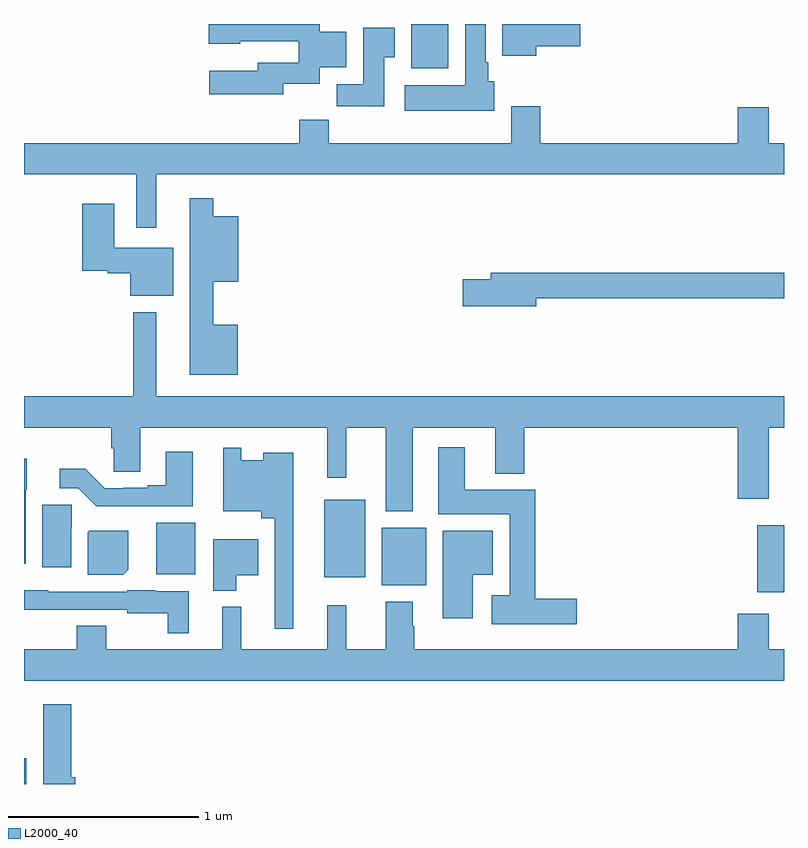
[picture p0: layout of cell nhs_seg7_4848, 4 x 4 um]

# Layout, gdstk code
import gdstk
lib = gdstk.Library(unit=1e-6, precision=1e-09)
def R(c, l, rs):  # rectangles x0, y0, x1, y1
    for r in rs: c.add(gdstk.rectangle(r[:2], r[2:], *l))
def P(c, l, *ps):  # polygons
    for p in ps: c.add(gdstk.Polygon(p, *l))
L2000_40 = (2000, 40)

nhs_seg7_4848 = lib.new_cell('nhs_seg7_4848')
R(nhs_seg7_4848, L2000_40, [(413,1072,413.013,1072.135), (416.858,1073.01,417,1073.362), (414.884,1073.045,415.117,1073.35), (414.581,1073.087,414.796,1073.497), (413.696,1073.105,413.902,1073.374), (415.037,1075.766,415.234,1076)])
P(nhs_seg7_4848, L2000_40, [(414.364,1075.685),(414.556,1075.685),(414.556,1075.772),(414.697,1075.772),(414.697,1075.96),(414.556,1075.96),(414.556,1076),(413.972,1076),(413.972,1075.895),(414.138,1075.895),(414.138,1075.908),(414.446,1075.908),(414.446,1075.795),(414.23,1075.795),(414.23,1075.753),(413.976,1075.753),(413.976,1075.631),(414.364,1075.631)],
  [(415.696,1075.883),(415.927,1075.883),(415.927,1076),(415.517,1076),(415.517,1075.832),(415.696,1075.832)],
  [(415.474,1075.698),(415.444,1075.698),(415.444,1075.798),(415.429,1075.798),(415.429,1076),(415.322,1076),(415.322,1075.678),(415.005,1075.678),(415.005,1075.544),(415.474,1075.544)],
  [(414.895,1075.825),(414.952,1075.825),(414.952,1075.981),(414.785,1075.981),(414.785,1075.684),(414.646,1075.684),(414.646,1075.566),(414.895,1075.566)],
  [(413.695,1075.208),(417,1075.208),(417,1075.372),(416.92,1075.372),(416.92,1075.561),(416.756,1075.561),(416.756,1075.372),(415.718,1075.372),(415.718,1075.567),(415.565,1075.567),(415.565,1075.372),(414.605,1075.372),(414.605,1075.496),(414.449,1075.496),(414.449,1075.372),(413,1075.372),(413,1075.208),(413.591,1075.208),(413.591,1074.927),(413.695,1074.927)],
  [(414.124,1074.418),(413.995,1074.418),(413.995,1074.644),(414.127,1074.644),(414.127,1074.988),(413.995,1074.988),(413.995,1075.084),(413.873,1075.084),(413.873,1074.155),(414.124,1074.155)],
  [(413.785,1074.823),(413.476,1074.823),(413.476,1075.054),(413.306,1075.054),(413.306,1074.701),(413.442,1074.701),(413.442,1074.689),(413.558,1074.689),(413.558,1074.569),(413.785,1074.569)],
  [(415.696,1074.556),(417,1074.556),(417,1074.692),(415.457,1074.692),(415.457,1074.656),(415.308,1074.656),(415.308,1074.514),(415.696,1074.514)],
  [(415.045,1073.876),(415.481,1073.876),(415.481,1073.633),(415.634,1073.633),(415.634,1073.876),(416.756,1073.876),(416.756,1073.502),(416.92,1073.502),(416.92,1073.876),(417,1073.876),(417,1074.04),(413.695,1074.04),(413.695,1074.484),(413.574,1074.484),(413.574,1074.04),(413,1074.04),(413,1073.876),(413.459,1073.876),(413.459,1073.766),(413.472,1073.766),(413.472,1073.644),(413.611,1073.644),(413.611,1073.876),(414.596,1073.876),(414.596,1073.613),(414.695,1073.613),(414.695,1073.876),(414.905,1073.876),(414.905,1073.435),(415.045,1073.435)],
  [(415.909,1072.976),(415.691,1072.976),(415.691,1073.548),(415.321,1073.548),(415.321,1073.773),(415.181,1073.773),(415.181,1073.42),(415.556,1073.42),(415.556,1072.993),(415.461,1072.993),(415.461,1072.841),(415.909,1072.841)],
  [(414.418,1073.743),(414.26,1073.743),(414.26,1073.704),(414.144,1073.704),(414.144,1073.77),(414.048,1073.77),(414.048,1073.435),(414.248,1073.435),(414.248,1073.399),(414.321,1073.399),(414.321,1072.818),(414.418,1072.818)],
  [(413.887,1073.749),(413.747,1073.749),(413.747,1073.572),(413.651,1073.572),(413.651,1073.559),(413.524,1073.559),(413.524,1073.556),(413.424,1073.556),(413.322,1073.659),(413.187,1073.659),(413.187,1073.556),(413.286,1073.556),(413.381,1073.462),(413.887,1073.462)],
  [(413.008,1073.55),(413.014,1073.55),(413.014,1073.713),(413,1073.713),(413,1073.16),(413.008,1073.16)],
  [(413.248,1073.346),(413.252,1073.346),(413.252,1073.469),(413.096,1073.469),(413.096,1073.142),(413.248,1073.142)],
  [(413.548,1073.128),(413.548,1073.332),(413.344,1073.332),(413.336,1073.324),(413.336,1073.102),(413.522,1073.102)],
  [(415.363,1073.102),(415.468,1073.102),(415.468,1073.332),(415.205,1073.332),(415.205,1072.872),(415.363,1072.872)],
  [(414.118,1073.099),(414.232,1073.099),(414.232,1073.287),(413.996,1073.287),(413.996,1073.018),(414.118,1073.018)],
  [(413.867,1073.014),(413.694,1073.014),(413.694,1073.02),(413.544,1073.02),(413.544,1073.013),(413.127,1073.013),(413.127,1073.02),(413,1073.02),(413,1072.916),(413.127,1072.916),(413.127,1072.917),(413.544,1072.917),(413.544,1072.898),(413.757,1072.898),(413.757,1072.793),(413.867,1072.793)],
  [(417,1072.708),(416.92,1072.708),(416.92,1072.897),(416.756,1072.897),(416.756,1072.708),(415.053,1072.708),(415.053,1072.829),(415.045,1072.829),(415.045,1072.96),(414.905,1072.96),(414.905,1072.708),(414.695,1072.708),(414.695,1072.942),(414.596,1072.942),(414.596,1072.708),(414.143,1072.708),(414.143,1072.933),(414.044,1072.933),(414.044,1072.708),(413.433,1072.708),(413.433,1072.832),(413.278,1072.832),(413.278,1072.708),(413,1072.708),(413,1072.544),(417,1072.544)],
  [(413.27,1072.035),(413.249,1072.035),(413.249,1072.42),(413.102,1072.42),(413.102,1072),(413.27,1072)])

lib.write_gds('nhs_seg7_4848.gds')
